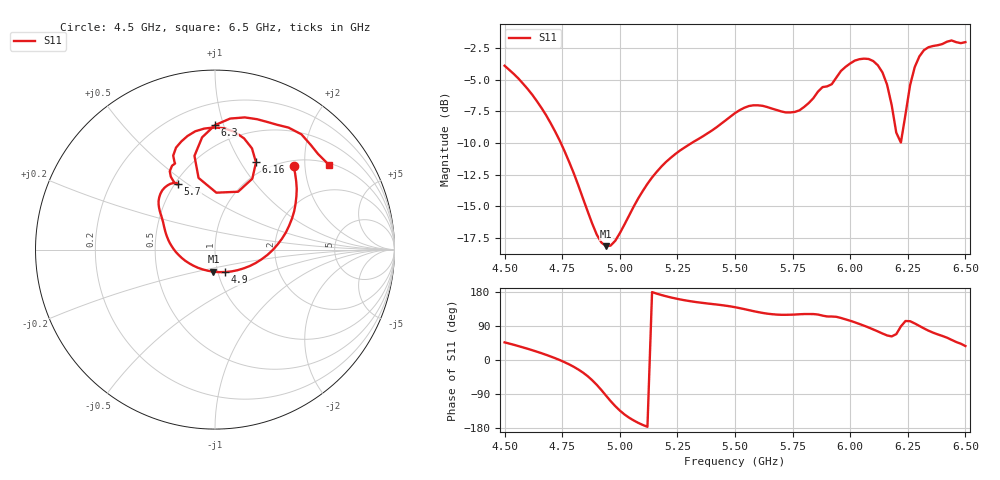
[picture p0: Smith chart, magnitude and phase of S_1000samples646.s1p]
! TOUCHSTONE file generated by CST MICROWAVE STUDIO
! Date and time: Fri Oct 28 21:43:41 2022
! Project name: L.cst
! Parameters = {Di=1.27; Epsilon_r=1.56; InnerDiameter=1.27; Length=2; Lf=10; Lg=60; OuterConductorThickness=0.2921; OuterDiameter=3.6; Wf=3; Wp=41.2; de=1.5; df=6.8; g=0.8; gx=2.77672; gy=1.47742; h=2.34; hf=1.524; px=14.2356; py=11.9983; w=9.7; wx=11.4589; wy=10.5208}
! Header version: 2018
! Port assignment regex: !\s*Touchstone port\s*([0-9]+)\s*=\s*(CST MWS port|CST DS port)\s*([0-9]+|Zmin|Zmax)\s*\(\"(.*)\"\)(\s*mode\s*([0-9]+))?.*
! Touchstone port assignment:
! Touchstone port 1 = CST MWS port 1 ("")
# GHz S DB R 50
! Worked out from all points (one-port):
!   101 points, 4.5 GHz to 6.5 GHz, reference 50 ohm
!   lowest |S11| = -18.2 dB at 4.94 GHz (marker M1), VSWR 1.28, Z = 47.7 - j12 ohm
!   |S11| at or under -10 dB: 4.744 GHz to 5.313 GHz (568.8 MHz wide, 11.3 % of centre)
!   S11 on the Smith chart (normalised r, x): 4.5 GHz: 1.12, +1.75; 4.9 GHz: 1.08, -0.28; 5.7 GHz: 0.52, +0.46; 6.16 GHz: 0.86, +1.17; 6.3 GHz: 0.35, +0.94; 6.5 GHz: 1.04, +2.64
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4.5  -3.90 46.5
4.62  -6.19 25.8
4.76  -10.64 -5.8
4.82  -13.36 -25.1
4.9  -17.25 -65.6
4.94  -18.16 -93.9
5  -17.14 -133.4
5.14  -12.73 179.2
5.26  -10.62 160.1
5.5  -7.65 139.3
5.6  -7.03 126.5
5.7  -7.51 119.3
5.76  -7.55 119.9
5.86  -5.95 120.0
5.94  -4.84 114.0
6  -3.73 103.6
6.08  -3.37 85.8
6.12  -3.87 75.4
6.16  -5.40 64.8
6.18  -7.01 62.2
6.2  -9.19 68.3
6.22  -9.97 88.7
6.24  -7.75 102.9
6.26  -5.44 102.4
6.3  -3.18 90.0
6.34  -2.44 77.3
6.42  -2.01 58.9
6.5  -2.04 36.8
